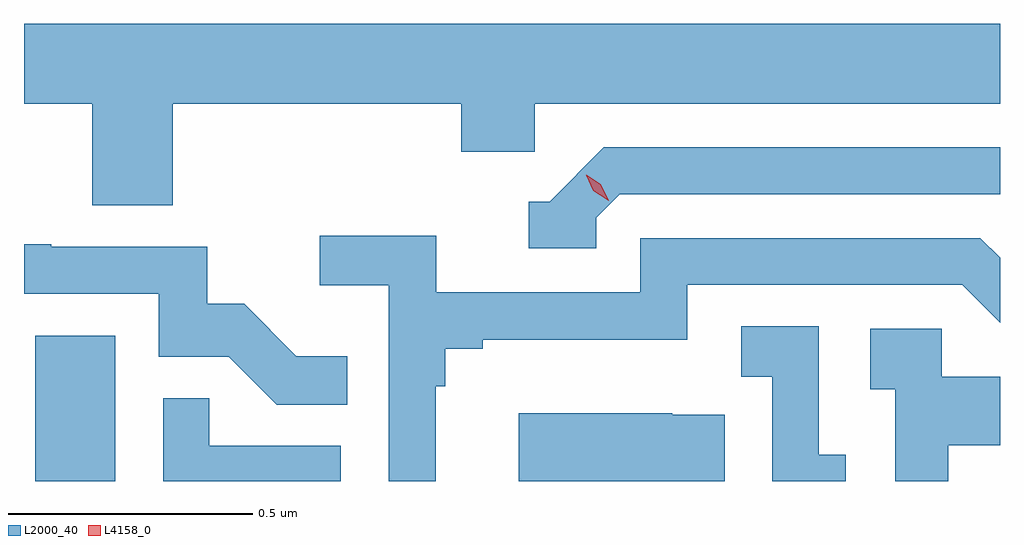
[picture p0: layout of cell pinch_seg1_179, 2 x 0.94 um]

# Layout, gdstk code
import gdstk
lib = gdstk.Library(unit=1e-6, precision=1e-09)
def R(c, l, rs):  # rectangles x0, y0, x1, y1
    for r in rs: c.add(gdstk.rectangle(r[:2], r[2:], *l))
def P(c, l, *ps):  # polygons
    for p in ps: c.add(gdstk.Polygon(p, *l))
L2000_40 = (2000, 40)
L4158_0 = (4158, 0)

pinch_seg1_179 = lib.new_cell('pinch_seg1_179')
R(pinch_seg1_179, L2000_40, [(1097.942,553.623,1098.106,553.921)])
P(pinch_seg1_179, L2000_40, [(1098.224,554.396),(1098.815,554.396),(1098.815,554.298),(1098.966,554.298),(1098.966,554.396),(1099.919,554.396),(1099.919,554.56),(1097.919,554.56),(1097.919,554.396),(1098.059,554.396),(1098.059,554.188),(1098.224,554.188)],
  [(1099.092,554.163),(1099.14,554.211),(1099.919,554.211),(1099.919,554.307),(1099.107,554.307),(1098.996,554.196),(1098.953,554.196),(1098.953,554.1),(1099.092,554.1)],
  [(1098.763,553.817),(1098.782,553.817),(1098.782,553.894),(1098.859,553.894),(1098.859,553.913),(1099.278,553.913),(1099.278,554.025),(1099.842,554.025),(1099.919,553.948),(1099.919,554.081),(1099.879,554.121),(1099.182,554.121),(1099.182,554.01),(1098.764,554.01),(1098.764,554.126),(1098.525,554.126),(1098.525,554.024),(1098.666,554.024),(1098.666,553.623),(1098.763,553.623)],
  [(1098.581,553.879),(1098.477,553.879),(1098.37,553.986),(1098.294,553.986),(1098.294,554.103),(1097.975,554.103),(1097.975,554.108),(1097.919,554.108),(1097.919,554.007),(1098.195,554.007),(1098.195,553.878),(1098.339,553.878),(1098.437,553.78),(1098.581,553.78)],
  [(1099.603,553.677),(1099.548,553.677),(1099.548,553.94),(1099.389,553.94),(1099.389,553.837),(1099.452,553.837),(1099.452,553.623),(1099.603,553.623)],
  [(1099.813,553.697),(1099.919,553.697),(1099.919,553.837),(1099.8,553.837),(1099.8,553.935),(1099.653,553.935),(1099.653,553.811),(1099.704,553.811),(1099.704,553.623),(1099.813,553.623)],
  [(1098.568,553.695),(1098.299,553.695),(1098.299,553.793),(1098.204,553.793),(1098.204,553.623),(1098.568,553.623)],
  [(1099.355,553.759),(1099.247,553.759),(1099.247,553.762),(1098.933,553.762),(1098.933,553.623),(1099.355,553.623)])
P(pinch_seg1_179, L4158_0, [(1099.117,554.198),(1099.086,554.218),(1099.071,554.25),(1099.071,554.251),(1099.071,554.251),(1099.101,554.231),(1099.117,554.198),(1099.117,554.198)])

lib.write_gds('pinch_seg1_179.gds')
